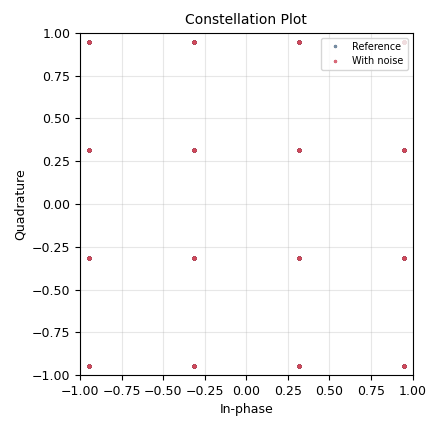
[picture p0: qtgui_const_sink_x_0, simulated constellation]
<?xml version='1.0' encoding='utf-8'?>
<?grc format='1' created='3.7.6'?>
<flow_graph>
<block>
<key>options</key>
<param><key>id</key><value>top_block</value></param>
<param><key>generate_options</key><value>qt_gui</value></param>
<param><key>category</key><value>Custom</value></param>
</block>
<block>
<key>variable</key>
<param><key>id</key><value>samp_rate</value></param>
<param><key>value</key><value>1e6</value></param>
</block>
<block>
<key>variable</key>
<param><key>id</key><value>vlen</value></param>
<param><key>value</key><value>16</value></param>
</block>
<block>
<key>blocks_stream_to_vector</key>
<param><key>id</key><value>blocks_stream_to_vector_0</value></param>
<param><key>type</key><value>complex</value></param>
<param><key>num_items</key><value>vlen</value></param>
</block>
<block>
<key>blocks_add_xx</key>
<param><key>id</key><value>blocks_add_xx_0</value></param>
<param><key>type</key><value>complex</value></param>
<param><key>vlen</key><value>vlen</value></param>
</block>
<block>
<key>blocks_vector_to_stream</key>
<param><key>id</key><value>blocks_vector_to_stream_0_0</value></param>
<param><key>type</key><value>complex</value></param>
<param><key>num_items</key><value>vlen</value></param>
</block>
<block>
<key>analog_noise_source_x</key>
<param><key>id</key><value>analog_noise_source_x_0</value></param>
<param><key>type</key><value>complex</value></param>
<param><key>noise_type</key><value>analog.GR_GAUSSIAN</value></param>
<param><key>amp</key><value>amp</value></param>
<param><key>seed</key><value>0</value></param>
</block>
<block>
<key>variable_qtgui_range</key>
<param><key>id</key><value>amp</value></param>
<param><key>label</key><value>Noise Power</value></param>
<param><key>value</key><value>0</value></param>
<param><key>start</key><value>0</value></param>
<param><key>stop</key><value>1</value></param>
<param><key>step</key><value>0.01</value></param>
<param><key>orient</key><value>Qt.Horizontal</value></param>
</block>
<block>
<key>qtgui_const_sink_x</key>
<param><key>id</key><value>qtgui_const_sink_x_0</value></param>
<param><key>type</key><value>complex</value></param>
<param><key>name</key><value>"Constellation Plot"</value></param>
<param><key>size</key><value>1024</value></param>
<param><key>grid</key><value>True</value></param>
<param><key>ymin</key><value>-1</value></param>
<param><key>ymax</key><value>1</value></param>
<param><key>xmin</key><value>-1</value></param>
<param><key>xmax</key><value>1</value></param>
<param><key>nconnections</key><value>2</value></param>
<param><key>label1</key><value>Reference</value></param>
<param><key>width1</key><value>2</value></param>
<param><key>label2</key><value>With noise</value></param>
</block>
<block>
<key>blocks_throttle</key>
<param><key>id</key><value>blocks_throttle_0</value></param>
<param><key>type</key><value>complex</value></param>
<param><key>samples_per_second</key><value>samp_rate</value></param>
<param><key>vlen</key><value>vlen</value></param>
</block>
<block>
<key>blocks_vector_to_stream</key>
<param><key>id</key><value>blocks_vector_to_stream_0</value></param>
<param><key>type</key><value>complex</value></param>
<param><key>num_items</key><value>vlen</value></param>
</block>
<block>
<key>blocks_vector_source_x</key>
<param><key>id</key><value>blocks_vector_source_x_0</value></param>
<param><key>type</key><value>complex</value></param>
<param><key>vector</key><value>[
       - 0.94868328 - 0.94868328j, -0.94868328 - 0.31622776j,
       - 0.94868328 + 0.94868328j, -0.94868328 + 0.31622776j,
       - 0.31622776 - 0.94868328j, -0.31622776 - 0.31622776j,
       - 0.31622776 + 0.94868328j, -0.31622776 + 0.31622776j,
        0.94868328 - 0.94868328j, 0.94868328 - 0.31622776j,
        0.94868328 + 0.94868328j, 0.94868328 + 0.31622776j,
        0.31622776 - 0.94868328j, 0.31622776 - 0.31622776j,
        0.31622776 + 0.94868328j, 0.31622776 + 0.31622776j]</value></param>
<param><key>repeat</key><value>True</value></param>
<param><key>vlen</key><value>16</value></param>
</block>
<block>
<key>blocks_vector_source_x</key>
<param><key>id</key><value>blocks_vector_source_x_0_0</value></param>
<param><key>_enabled</key><value>False</value></param>
<param><key>type</key><value>complex</value></param>
<param><key>vector</key><value>[1+0j, -1+0j]*8</value></param>
<param><key>repeat</key><value>True</value></param>
<param><key>vlen</key><value>16</value></param>
</block>
<connection><source_block_id>blocks_vector_source_x_0</source_block_id><sink_block_id>blocks_throttle_0</sink_block_id><source_key>0</source_key><sink_key>0</sink_key></connection>
<connection><source_block_id>analog_noise_source_x_0</source_block_id><sink_block_id>blocks_stream_to_vector_0</sink_block_id><source_key>0</source_key><sink_key>0</sink_key></connection>
<connection><source_block_id>blocks_throttle_0</source_block_id><sink_block_id>blocks_add_xx_0</sink_block_id><source_key>0</source_key><sink_key>0</sink_key></connection>
<connection><source_block_id>blocks_stream_to_vector_0</source_block_id><sink_block_id>blocks_add_xx_0</sink_block_id><source_key>0</source_key><sink_key>1</sink_key></connection>
<connection><source_block_id>blocks_vector_source_x_0</source_block_id><sink_block_id>blocks_vector_to_stream_0</sink_block_id><source_key>0</source_key><sink_key>0</sink_key></connection>
<connection><source_block_id>blocks_vector_to_stream_0</source_block_id><sink_block_id>qtgui_const_sink_x_0</sink_block_id><source_key>0</source_key><sink_key>0</sink_key></connection>
<connection><source_block_id>blocks_add_xx_0</source_block_id><sink_block_id>blocks_vector_to_stream_0_0</sink_block_id><source_key>0</source_key><sink_key>0</sink_key></connection>
<connection><source_block_id>blocks_vector_to_stream_0_0</source_block_id><sink_block_id>qtgui_const_sink_x_0</sink_block_id><source_key>0</source_key><sink_key>1</sink_key></connection>
<connection><source_block_id>blocks_vector_source_x_0_0</source_block_id><sink_block_id>blocks_throttle_0</sink_block_id><source_key>0</source_key><sink_key>0</sink_key></connection>
<connection><source_block_id>blocks_vector_source_x_0_0</source_block_id><sink_block_id>blocks_vector_to_stream_0</sink_block_id><source_key>0</source_key><sink_key>0</sink_key></connection>
</flow_graph>
